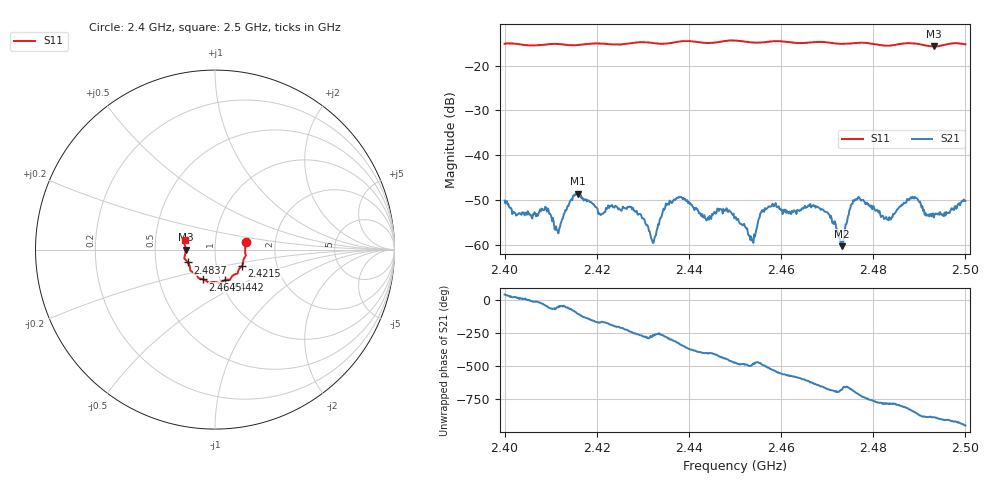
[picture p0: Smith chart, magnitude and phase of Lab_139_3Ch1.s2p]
# Hz S RI R 50
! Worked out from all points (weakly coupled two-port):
!   601 points, 2.4 GHz to 2.5 GHz, reference 50 ohm
!   highest |S21| = -48.59 dB at 2.4158 GHz (marker M1); lowest = -60.3 dB at 2.4732 GHz (marker M2)
!   lowest |S11| = -15.7 dB at 2.4932 GHz (marker M3), VSWR 1.39, Z = 36 - j0.0427 ohm
!   |S11| at or under -10 dB: start of sweep to end of sweep
!   S12 and S22 are empty: the file has one direction only
!   S11 on the Smith chart (normalised r, x): 2.4 GHz: 1.41, +0.12; 2.4215 GHz: 1.33, -0.25; 2.4442 GHz: 1.05, -0.37; 2.4645 GHz: 0.83, -0.29; 2.4837 GHz: 0.73, -0.11; 2.5 GHz: 0.71, +0.07
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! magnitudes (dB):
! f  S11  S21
! 2.4 GHz  -15.1  -50.1
! 2.4113 GHz  -15.2  -56.7
! 2.4158 GHz  -15.4  -48.6
! 2.4167 GHz  -15.3  -49.6
! 2.4215 GHz  -15.1  -52.8
! 2.4275 GHz  -15.0  -51.5
! 2.4322 GHz  -15.0  -59.6
! 2.4333 GHz  -15.1  -55.3
! 2.4378 GHz  -14.6  -49.3
! 2.4442 GHz  -15.0  -53.9
! 2.45 GHz  -14.4  -53.9
! 2.4538 GHz  -14.8  -59.2
! 2.457 GHz  -14.7  -51.8
! 2.4645 GHz  -15.0  -51.9
! 2.4667 GHz  -14.8  -51.4
! 2.4732 GHz  -15.1  -60.3
! 2.4765 GHz  -14.9  -49.9
! 2.4833 GHz  -15.6  -54.5
! 2.4837 GHz  -15.5  -54.3
! 2.4885 GHz  -15.0  -49.3
! 2.4932 GHz  -15.7  -53.9
! 2.5 GHz  -15.2  -50.2
